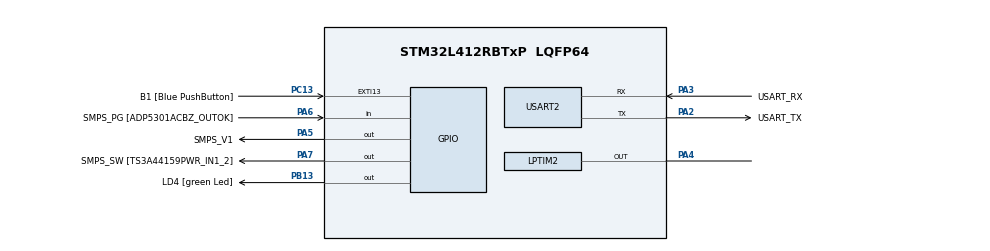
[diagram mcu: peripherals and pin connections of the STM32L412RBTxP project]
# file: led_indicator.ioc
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LPTIM1.ClockPrescaler=LPTIM_PRESCALER_DIV64
LPTIM1.RepetitionCounter=0
LPTIM2.ClockPrescaler=LPTIM_PRESCALER_DIV64
LPTIM2.RepetitionCounter=0
LPTIM2.UpdateMode=LPTIM_UPDATE_IMMEDIATE
Mcu.Family=STM32L4
Mcu.Name=STM32L412RBTxP
Mcu.Package=LQFP64
NVIC.LPTIM1_IRQn=true\:0\:0\:false\:false\:true\:true\:true
NVIC.LPTIM2_IRQn=true\:0\:0\:false\:false\:true\:true\:true
NVIC.PriorityGroup=NVIC_PRIORITYGROUP_4
PA13\ (JTMS/SWDIO).GPIO_Label=TMS
PA13\ (JTMS/SWDIO).Mode=Serial_Wire
PA13\ (JTMS/SWDIO).Signal=SYS_JTMS-SWDIO
PA14\ (JTCK/SWCLK).GPIO_Label=TCK
PA14\ (JTCK/SWCLK).Mode=Serial_Wire
PA14\ (JTCK/SWCLK).Signal=SYS_JTCK-SWCLK
PA2.GPIO_Label=USART_TX
PA2.GPIO_PuPd=GPIO_NOPULL
PA2.GPIO_Speed=GPIO_SPEED_FREQ_VERY_HIGH
PA2.Mode=Asynchronous
PA2.Signal=USART2_TX
PA3.GPIO_Label=USART_RX
PA3.GPIO_PuPd=GPIO_NOPULL
PA3.GPIO_Speed=GPIO_SPEED_FREQ_VERY_HIGH
PA3.Mode=Asynchronous
PA3.Signal=USART2_RX
PA4.Mode=WaveformGeneration
PA4.Signal=LPTIM2_OUT
PA5.GPIO_Label=SMPS_V1
PA5.GPIO_ModeDefaultOutputPP=GPIO_MODE_OUTPUT_PP
PA5.GPIO_PuPd=GPIO_NOPULL
PA5.GPIO_Speed=GPIO_SPEED_FREQ_LOW
PA5.Signal=GPIO_Output
PA6.GPIO_Label=SMPS_PG [ADP5301ACBZ_OUTOK]
PA6.GPIO_PuPd=GPIO_PULLUP
PA6.Signal=GPIO_Input
PA7.GPIO_Label=SMPS_SW [TS3A44159PWR_IN1_2]
PA7.Signal=GPIO_Output
PB13.GPIO_Label=LD4 [green Led]
PB13.Signal=GPIO_Output
PB3\ (JTDO/TRACESWO).GPIO_Label=SWO
PB3\ (JTDO/TRACESWO).Signal=SYS_JTDO-SWO
PC13.GPIO_Label=B1 [Blue PushButton]
PC13.GPIO_ModeDefaultEXTI=GPIO_MODE_IT_FALLING
PC13.GPIO_PuPd=GPIO_NOPULL
PC13.Signal=GPXTI13
PC14-OSC32_IN\ (PC14).Mode=LSE-External-Oscillator
PC14-OSC32_IN\ (PC14).Signal=RCC_OSC32_IN
PC15-OSC32_OUT\ (PC15).Mode=LSE-External-Oscillator
PC15-OSC32_OUT\ (PC15).Signal=RCC_OSC32_OUT
PH0-OSC_IN\ (PH0).GPIO_Label=MCO
PH0-OSC_IN\ (PH0).Mode=HSE-External-Clock-Source
PH0-OSC_IN\ (PH0).Signal=RCC_OSC_IN
PH1-OSC_OUT\ (PH1).Signal=RCC_OSC_OUT
ProjectManager.HeapSize=0x200
ProjectManager.StackSize=0x400
ProjectManager.TargetToolchain=EWARM V8.32
RCC.ADCFreq_Value=80000000
RCC.AHBFreq_Value=80000000
RCC.APB1Freq_Value=80000000
RCC.APB1TimFreq_Value=80000000
RCC.APB2Freq_Value=80000000
RCC.APB2TimFreq_Value=80000000
RCC.CortexFreq_Value=80000000
RCC.FLatency=FLASH_LATENCY_4
RCC.HCLKFreq_Value=80000000
RCC.HSE_VALUE=8000000
RCC.HSI48_VALUE=48000000
RCC.HSICalibrationValue=16
RCC.HSI_VALUE=16000000
RCC.LPTIM1CLockSelection=RCC_LPTIM1CLKSOURCE_LSE
RCC.LPTIM2CLockSelection=RCC_LPTIM2CLKSOURCE_LSE
RCC.MSIAutoCalibration=DISABLED
RCC.MSI_VALUE=4000000
RCC.PLLN=40
RCC.PREFETCH_ENABLE=1
RCC.SYSCLKFreq_VALUE=80000000
RCC.SYSCLKSource=RCC_SYSCLKSOURCE_PLLCLK
RCC.USART2CLockSelection=RCC_USART2CLKSOURCE_HSI
RCC.USBFreq_Value=4000000
RCC.VCOOutputFreq_Value=160000000
USART2.VirtualMode-Asynchronous=VM_ASYNC
VP_LPTIM1_VS_LPTIM_counterModeInternalClock.Mode=Counts__internal_clock_event_00
VP_LPTIM2_VS_LPTIM_counterModeInternalClock.Mode=Counts__internal_clock_event_00
board=NUCLEO-L412RB-P

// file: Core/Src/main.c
/* USER CODE BEGIN Header */
/**
  ******************************************************************************
  * @file           : main.c
  * @brief          : Main program body
  ******************************************************************************
  * @attention
  *
  * <h2><center>&copy; Copyright (c) 2021 STMicroelectronics.
  * All rights reserved.</center></h2>
  *
  * This software component is licensed by ST under BSD 3-Clause license,
  * the "License"; You may not use this file except in compliance with the
  * License. You may obtain a copy of the License at:
  *                        opensource.org/licenses/BSD-3-Clause
  *
  ******************************************************************************
  */
/* USER CODE END Header */
#include "main.h"
#include "lptim.h"
#include "usart.h"
#include "gpio.h"

/* USER CODE BEGIN Includes */
#include "WVT_LED.h"
/* USER CODE END Includes */

/* USER CODE BEGIN PD */
#if !defined  (LSE_VALUE)
#define LSE_VALUE    32768U     /*!< Value of the LSE oscillator in Hz */
#endif /* LSE_VALUE */
/* USER CODE END PD */

void SystemClock_Config(void);

int main(void)
{
  /* USER CODE BEGIN 1 */
  _Bool eventOccured = 1;
  /* USER CODE END 1 */

  /* MCU Configuration--------------------------------------------------------*/

  /* Reset of all peripherals, Initializes the Flash interface and the Systick. */

  LL_APB2_GRP1_EnableClock(LL_APB2_GRP1_PERIPH_SYSCFG);
  LL_APB1_GRP1_EnableClock(LL_APB1_GRP1_PERIPH_PWR);

  NVIC_SetPriorityGrouping(NVIC_PRIORITYGROUP_4);

  /* System interrupt init*/

  /* Configure the system clock */
  SystemClock_Config();

  /* Initialize all configured peripherals */
  MX_GPIO_Init();
  MX_LPTIM2_Init();
  MX_USART2_UART_Init();
  MX_LPTIM1_Init();
  /* USER CODE BEGIN 2 */

  // Getting actual prescaler number
  uint32_t prescalerValueLPTIM1 = 1 << (LL_LPTIM_GetPrescaler(LPTIM1) >> LPTIM_CFGR_PRESC_Pos);

  /* Starting LPTIM1 */
  LL_LPTIM_EnableIT_ARRM(LPTIM1);
  LL_LPTIM_Enable(LPTIM1);
  LL_LPTIM_SetAutoReload(LPTIM1, LSE_VALUE/prescalerValueLPTIM1); //ARR interrupt is each second
  LL_LPTIM_StartCounter(LPTIM1, LL_LPTIM_OPERATING_MODE_ONESHOT);
  /* USER CODE END 2 */

  /* Infinite loop */
  /* USER CODE BEGIN WHILE */
  while (1)
  {
    /* Enter STOP 2 mode */
    LL_PWR_SetPowerMode(LL_PWR_MODE_STOP2);
    /* Set SLEEPDEEP bit of Cortex System Control Register */
    LL_LPM_EnableDeepSleep();
    /* Request Wait For Interrupt */
    __WFI();

    /* Start LED animation */
    if (eventOccured)
    {
      LEDModeExecution(THREE_SHORT);
      eventOccured = 0;
    }

    startLPTIM1Counter();
    /* USER CODE END WHILE */

  }
}

void SystemClock_Config(void)
{
  LL_FLASH_SetLatency(LL_FLASH_LATENCY_4);
  while(LL_FLASH_GetLatency()!= LL_FLASH_LATENCY_4)
  {
  }
  LL_PWR_SetRegulVoltageScaling(LL_PWR_REGU_VOLTAGE_SCALE1);
  LL_RCC_HSI_Enable();

   /* Wait till HSI is ready */
  while(LL_RCC_HSI_IsReady() != 1)
  {

  }
  LL_RCC_HSI_SetCalibTrimming(16);
  LL_RCC_MSI_Enable();

   /* Wait till MSI is ready */
  while(LL_RCC_MSI_IsReady() != 1)
  {

  }
  LL_RCC_MSI_EnableRangeSelection();
  LL_RCC_MSI_SetRange(LL_RCC_MSIRANGE_6);
  LL_RCC_MSI_SetCalibTrimming(0);
  LL_PWR_EnableBkUpAccess();
  LL_RCC_LSE_SetDriveCapability(LL_RCC_LSEDRIVE_LOW);
  LL_RCC_LSE_Enable();

   /* Wait till LSE is ready */
  while(LL_RCC_LSE_IsReady() != 1)
  {

  }
  LL_RCC_PLL_ConfigDomain_SYS(LL_RCC_PLLSOURCE_MSI, LL_RCC_PLLM_DIV_1, 40, LL_RCC_PLLR_DIV_2);
  LL_RCC_PLL_EnableDomain_SYS();
  LL_RCC_PLL_Enable();

   /* Wait till PLL is ready */
  while(LL_RCC_PLL_IsReady() != 1)
  {

  }
  LL_RCC_SetSysClkSource(LL_RCC_SYS_CLKSOURCE_PLL);

   /* Wait till System clock is ready */
  while(LL_RCC_GetSysClkSource() != LL_RCC_SYS_CLKSOURCE_STATUS_PLL)
  {

  }
  LL_RCC_SetAHBPrescaler(LL_RCC_SYSCLK_DIV_1);
  LL_RCC_SetAPB1Prescaler(LL_RCC_APB1_DIV_1);
  LL_RCC_SetAPB2Prescaler(LL_RCC_APB2_DIV_1);

  LL_Init1msTick(80000000);

  LL_SetSystemCoreClock(80000000);
  LL_RCC_SetUSARTClockSource(LL_RCC_USART2_CLKSOURCE_HSI);
  LL_RCC_SetLPTIMClockSource(LL_RCC_LPTIM2_CLKSOURCE_LSE);
  LL_RCC_SetLPTIMClockSource(LL_RCC_LPTIM1_CLKSOURCE_LSE);
}

void Error_Handler(void)
{
}

/************************ (C) COPYRIGHT STMicroelectronics *****END OF FILE****/
